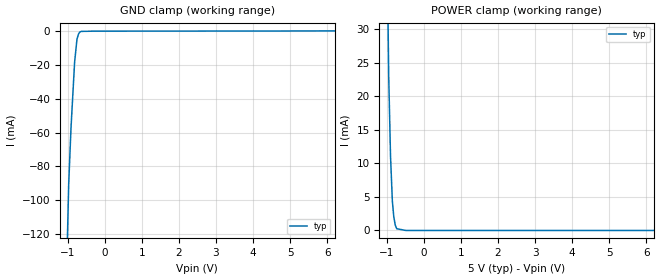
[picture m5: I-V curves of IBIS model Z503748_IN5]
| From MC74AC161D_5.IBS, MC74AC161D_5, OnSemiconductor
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| (C) COPYRIGHT 1993-2000
| MENTOR GRAPHICS CORPORATION
| ICX STANDARD LIBRARY, ICX PROJECT MODELING,
| ICX CUSTOM MODELING, ICX VENDOR MODEL
| ALL RIGHTS RESERVED.
| THE FOLLOWING ARE TRADEMARKS OR SERVICE MARKS OF
| MENTOR GRAPHICS CORPORATION:ICX (R), ICX STANDARD
| LIBRARY(R), ICX PROJECT MODELING(R), ICX CUSTOM
| MODELING(R), qualityIBIS(TM), MODELVIEWER(TM),
| AND MODELEDITOR(TM)
| ALL COPIES OF SOFTWARE, INCLUDING BUT NOT LIMITED TO
| ANY MODIFICATIONS, ENHANCEMENTS OR DERIVATIVE WORKS,
| MUST CONTAIN ALL MENTOR GRAPHICS CORPORATION'S
| NOTICES AND LEGENDS, INCLUDING THOSE EMBEDDED IN
| SOFTWARE AND THOSE AFFIXED TO SOFTWARE MEDIUM
| AND CONTAINER, AS RECEIVED FROM MENTOR GRAPHICS
| CORPORATION.
| Model Application Version 1.89 2/18/99.
[Model] Z503748_IN5
Model_type Input
Vinl = 1.500V
Vinh = 3.500V
C_comp 4.000pF NA NA
| variable typ   min   max
[Voltage Range] 5.000V NA NA
[GND Clamp Reference] 0.000V NA NA
[POWER Clamp Reference] 5.000V NA NA
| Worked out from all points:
|   GND clamp passes 1 mA (typ) near -0.69 V on its own axis
|   POWER clamp passes 1 mA (typ) near -0.78 V on its own axis
[GND Clamp]
-5V       -3.787A    NA         NA
-969.8mV  -90.87mA   NA         NA
-908.2mV  -57.63mA   NA         NA
-810.5mV  -18.32mA   NA         NA
-746.7mV  -4.64mA    NA         NA
-703.7mV  -1.451mA   NA         NA
-667.5mV  -277.7uA   NA         NA
-628mV    47.56uA    NA         NA
10V       548.2uA    NA         NA
[POWER Clamp]
-5V       2.873A     NA         NA
-1.055V   71.56mA    NA         NA
-947mV    22.9mA     NA         NA
-899mV    11.18mA    NA         NA
-849mV    4.37mA     NA         NA
-811mV    2.065mA    NA         NA
-771mV    804.4uA    NA         NA
-732mV    263.4uA    NA         NA
-488mV    0A         NA         NA
10V       0A         NA         NA
